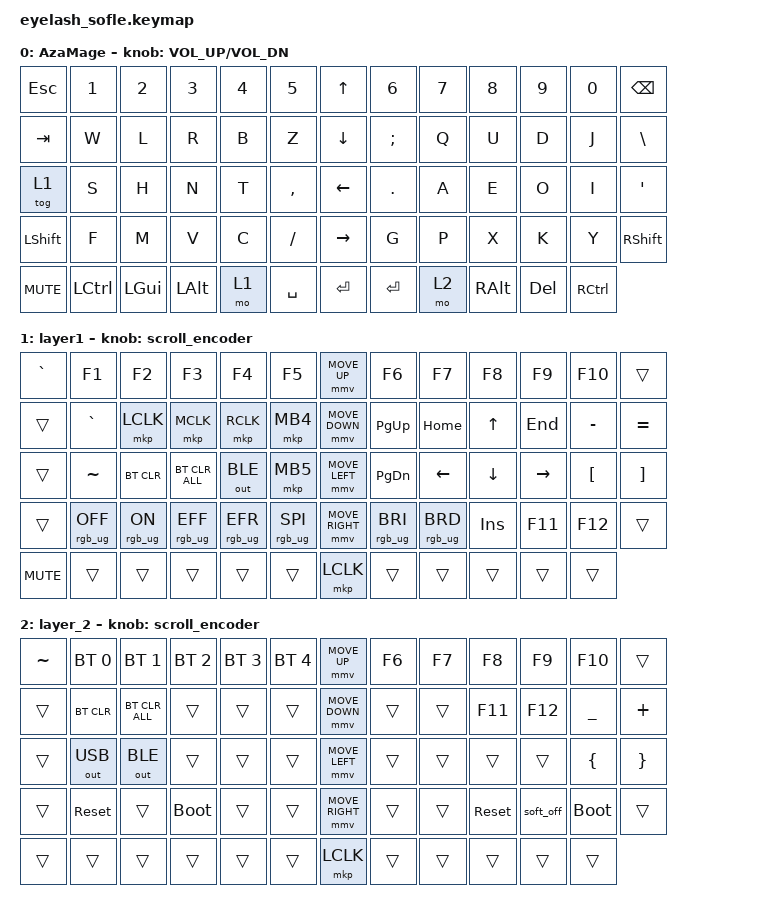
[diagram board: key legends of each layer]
#include <behaviors.dtsi>
#include <dt-bindings/zmk/bt.h>
#include <dt-bindings/zmk/keys.h>
#include <dt-bindings/zmk/mouse.h>
#include <dt-bindings/zmk/outputs.h>
#include <dt-bindings/zmk/rgb.h>

#include <input/processors.dtsi>

/*

   &mmv_input_listener {
       input-processors = <&zip_xy_scaler 2 1>;
   };

   &msc_input_listener {
       input-processors = <&zip_xy_scaler 2 1>;
   };

 */

#define ZMK_MOUSE_DEFAULT_MOVE_VAL 1200  // 600
#define ZMK_MOUSE_DEFAULT_SCRL_VAL 20    // 10


/ {
    behaviors {
        mmv {
            acceleration-exponent = <1>;      // 1
            time-to-max-speed-ms = <900>;    // 40
            delay-ms = <0>;                   // 0
        };

        msc {
            acceleration-exponent = <1>;      // 0
            time-to-max-speed-ms = <400>;      // 500
            delay-ms = <0>;                   //   10
        };
    };

    scroll_encoder: scroll_encoder {
        compatible = "zmk,behavior-sensor-rotate";
        #sensor-binding-cells = <0>;
        bindings = <&msc SCRL_DOWN>, <&msc SCRL_UP>;

        tap-ms = <30>;
    };

    keymap {
        compatible = "zmk,keymap";

        layer0 {
            bindings = <
&kp ESC         &kp N1     &kp N2        &kp N3        &kp N4  &kp N5       &kp UP_ARROW     &kp N6     &kp N7     &kp N8         &kp N9           &kp N0      &kp BACKSPACE
&kp TAB         &kp W      &kp L         &kp R         &kp B   &kp Z        &kp DOWN_ARROW   &kp SEMI   &kp Q      &kp U          &kp D            &kp J       &kp BSLH
&tog 1          &kp S      &kp H         &kp N         &kp T   &kp COMMA    &kp LEFT_ARROW   &kp DOT    &kp A      &kp E          &kp O            &kp I       &kp APOS
&kp LSHFT       &kp F      &kp M         &kp V         &kp C   &kp FSLH     &kp RIGHT_ARROW  &kp G      &kp P      &kp X          &kp K            &kp Y       &kp RIGHT_SHIFT
&kp C_MUTE      &kp LCTRL  &kp LEFT_GUI  &kp LEFT_ALT  &mo 1   &kp SPACE    &kp ENTER        &kp ENTER  &mo 2      &kp RIGHT_ALT  &kp DELETE       &kp RCTRL
            >;

            sensor-bindings = <&inc_dec_kp C_VOLUME_UP C_VOL_DN>;
            display-name = "AzaMage";
        };

        layer_1 {
            bindings = <
&kp GRAVE   &kp F1           &kp F2          &kp F3           &kp F4           &kp F5             &mmv MOVE_UP     &kp F6           &kp F7           &kp F8      &kp F9     &kp F10           &trans
&trans      &kp GRAVE        &mkp LCLK       &mkp MCLK        &mkp RCLK        &mkp MB4           &mmv MOVE_DOWN   &kp PG_UP        &kp HOME         &kp UP      &kp END   &kp MINUS         &kp EQUAL
&trans      &kp TILDE        &bt BT_CLR      &bt BT_CLR_ALL   &out OUT_BLE     &mkp MB5           &mmv MOVE_LEFT   &kp PG_DN        &kp LEFT         &kp DOWN    &kp RIGHT  &kp LEFT_BRACKET  &kp RIGHT_BRACKET
&trans      &rgb_ug RGB_OFF  &rgb_ug RGB_ON  &rgb_ug RGB_EFF  &rgb_ug RGB_EFR  &rgb_ug RGB_SPI    &mmv MOVE_RIGHT  &rgb_ug RGB_BRI  &rgb_ug RGB_BRD  &kp INSERT  &kp F11    &kp F12           &trans
&kp C_MUTE  &trans           &trans          &trans           &trans           &trans             &mkp LCLK        &trans           &trans           &trans      &trans     &trans
            >;

            display-name = "layer1";
            sensor-bindings = <&scroll_encoder>;
        };

        layer_2 {
            bindings = <
&kp TILDE  &bt BT_SEL 0  &bt BT_SEL 1    &bt BT_SEL 2  &bt BT_SEL 3  &bt BT_SEL 4    &mmv MOVE_UP     &kp F6  &kp F7  &kp F8      &kp F9     &kp F10      &trans
&trans     &bt BT_CLR    &bt BT_CLR_ALL  &trans        &trans        &trans          &mmv MOVE_DOWN   &trans  &trans  &kp F11     &kp F12    &kp UNDER    &kp PLUS
&trans     &out OUT_USB  &out OUT_BLE    &trans        &trans        &trans          &mmv MOVE_LEFT   &trans  &trans  &trans      &trans     &kp LBRC     &kp RBRC
&trans     &sys_reset    &trans          &bootloader   &trans        &trans          &mmv MOVE_RIGHT  &trans  &trans  &sys_reset  &soft_off  &bootloader  &trans
&trans     &trans        &trans          &trans        &trans        &trans          &mkp LCLK        &trans  &trans  &trans      &trans     &trans
            >;

            sensor-bindings = <&scroll_encoder>;
        };
    };
};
